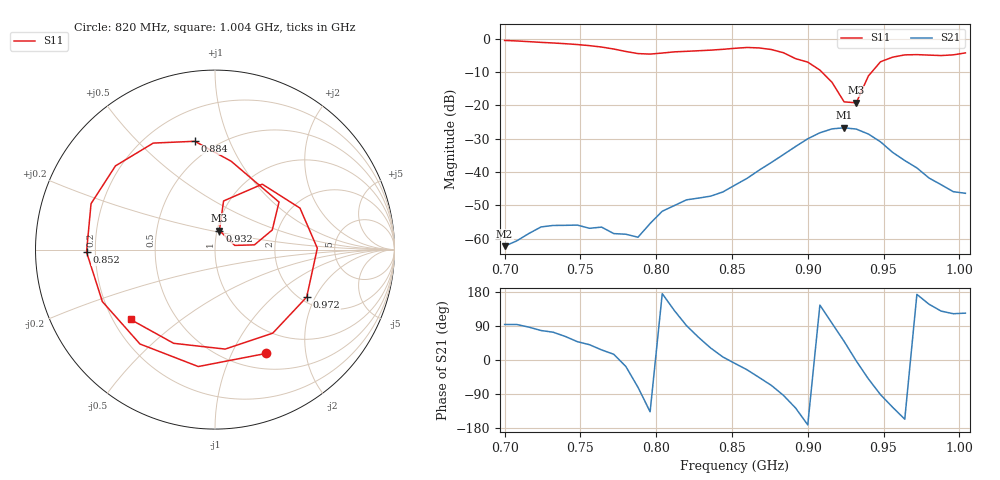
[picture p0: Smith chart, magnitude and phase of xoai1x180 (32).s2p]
# Hz S RI R 50
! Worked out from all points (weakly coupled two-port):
!   39 points, 700 MHz to 1.004 GHz, reference 50 ohm
!   highest |S21| = -26.75 dB at 924 MHz (marker M1); lowest = -62.3 dB at 700 MHz (marker M2)
!   lowest |S11| = -19.3 dB at 932 MHz (marker M3), VSWR 1.24, Z = 51.3 + j11 ohm
!   |S11| at or under -10 dB: 909.2 MHz to 942.3 MHz (33.04 MHz wide, 3.57 % of centre)
!   S12 and S22 are empty: the file has one direction only
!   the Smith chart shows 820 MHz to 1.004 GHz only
!   S11 on the Smith chart (normalised r, x): 820 MHz: 0.69, -1.37; 852 MHz: 0.17, -0.01; 884 MHz: 0.39, +0.75; 932 MHz: 1.03, +0.22; 972 MHz: 2.16, -1.71; 1.004 GHz: 0.27, -0.34
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7e8  0.7564 0.5554  -5.13e-05 0.00077  0 0  0 0
7.24e8  0.8428 -0.248  0.000316 0.00146  0 0  0 0
7.4e8  0.4587 -0.7025  0.000738 0.0014  0 0  0 0
7.56e8  -0.193 -0.7603  0.00109 0.000927  0 0  0 0
7.72e8  -0.6689 -0.1995  0.00115 0.000312  0 0  0 0
7.8e8  -0.5993 0.228  0.00111 -0.000344  0 0  0 0
7.96e8  0.2424 0.5334  -0.00123 -0.00116  0 0  0 0
8.04e8  0.5791 0.1839  -0.00257 0.000217  0 0  0 0
8.2e8  0.2844 -0.5785  -4.85e-05 0.00382  0 0  0 0
8.36e8  -0.418 -0.5259  0.00371 0.00227  0 0  0 0
8.52e8  -0.7158 -0.0136  0.00628 -0.00101  0 0  0 0
8.68e8  -0.5544 0.4666  0.00737 -0.00772  0 0  0 0
8.84e8  -0.1122 0.6035  -0.00109 -0.0182  0 0  0 0
9e8  0.3567 0.265  -0.0311 -0.00482  0 0  0 0
9.08e8  0.319 0.1094  -0.0316 0.0223  0 0  0 0
9.24e8  0.1101 0.0234  0.0301 0.0348  0 0  0 0
9.32e8  0.0247 0.1062  0.0439 -0.0019  0 0  0 0
9.48e8  0.2635 0.3645  -0.000705 -0.0283  0 0  0 0
9.56e8  0.4735 0.2312  -0.0112 -0.0162  0 0  0 0
9.72e8  0.5108 -0.2644  -0.0114 0.00137  0 0  0 0
9.88e8  0.0567 -0.5543  -0.00406 0.00501  0 0  0 0
1.004e9  -0.4704 -0.3892  -0.00265 0.00399  0 0  0 0
